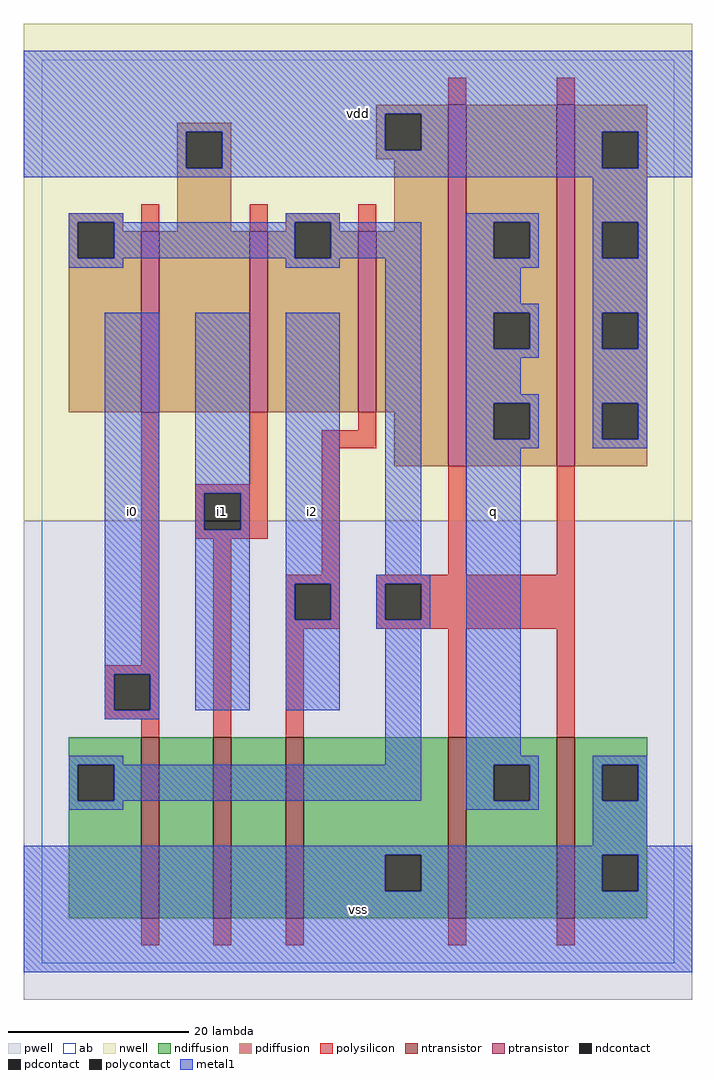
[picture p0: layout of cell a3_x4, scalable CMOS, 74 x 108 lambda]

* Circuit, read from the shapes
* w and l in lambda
.subckt a3_x4 i0 i1 i2 q vdd vss
M1 n1 i0 n2 VSUBS nfet w=20 l=2
M2 n3 i1 n1 VSUBS nfet w=20 l=2
M3 vss i2 n3 VSUBS nfet w=20 l=2
M4 q n2 vss VSUBS nfet w=20 l=2 m=2
M5 vdd i0 n2 n4 pfet w=20 l=2
M6 n2 i1 vdd n4 pfet w=20 l=2
M7 vdd i2 n2 n4 pfet w=20 l=2
M8 q n2 vdd n4 pfet w=40 l=2 m=2
.ends

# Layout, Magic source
magic
tech scmos
<< ab >>
rect 0 0 70 100
<< pwell >>
rect -2 -4 72 49
<< nwell >>
rect -2 49 72 104
<< polysilicon >>
rect 45 95 47 98
rect 57 95 59 98
rect 11 81 13 84
rect 23 81 25 84
rect 35 81 37 84
rect 11 33 13 61
rect 23 53 25 61
rect 35 59 37 61
rect 17 52 25 53
rect 17 48 18 52
rect 22 48 25 52
rect 17 47 25 48
rect 31 57 37 59
rect 7 32 13 33
rect 7 28 8 32
rect 12 28 13 32
rect 7 27 13 28
rect 11 25 13 27
rect 19 25 21 47
rect 31 43 33 57
rect 45 43 47 55
rect 57 43 59 55
rect 27 42 33 43
rect 27 38 28 42
rect 32 38 33 42
rect 27 37 33 38
rect 37 42 59 43
rect 37 38 38 42
rect 42 38 59 42
rect 37 37 59 38
rect 27 25 29 37
rect 45 25 47 37
rect 57 25 59 37
rect 11 2 13 5
rect 19 2 21 5
rect 27 2 29 5
rect 45 2 47 5
rect 57 2 59 5
<< ndiffusion >>
rect 3 22 11 25
rect 3 18 4 22
rect 8 18 11 22
rect 3 5 11 18
rect 13 5 19 25
rect 21 5 27 25
rect 29 12 45 25
rect 29 8 38 12
rect 42 8 45 12
rect 29 5 45 8
rect 47 22 57 25
rect 47 18 50 22
rect 54 18 57 22
rect 47 5 57 18
rect 59 22 67 25
rect 59 18 62 22
rect 66 18 67 22
rect 59 12 67 18
rect 59 8 62 12
rect 66 8 67 12
rect 59 5 67 8
<< pdiffusion >>
rect 37 94 45 95
rect 15 92 21 93
rect 15 88 16 92
rect 20 88 21 92
rect 37 90 38 94
rect 42 90 45 94
rect 37 89 45 90
rect 3 82 9 83
rect 3 78 4 82
rect 8 81 9 82
rect 15 81 21 88
rect 27 82 33 83
rect 27 81 28 82
rect 8 78 11 81
rect 3 61 11 78
rect 13 61 23 81
rect 25 78 28 81
rect 32 81 33 82
rect 39 81 45 89
rect 32 78 35 81
rect 25 61 35 78
rect 37 61 45 81
rect 39 55 45 61
rect 47 82 57 95
rect 47 78 50 82
rect 54 78 57 82
rect 47 72 57 78
rect 47 68 50 72
rect 54 68 57 72
rect 47 62 57 68
rect 47 58 50 62
rect 54 58 57 62
rect 47 55 57 58
rect 59 92 67 95
rect 59 88 62 92
rect 66 88 67 92
rect 59 82 67 88
rect 59 78 62 82
rect 66 78 67 82
rect 59 72 67 78
rect 59 68 62 72
rect 66 68 67 72
rect 59 62 67 68
rect 59 58 62 62
rect 66 58 67 62
rect 59 55 67 58
<< metal1 >>
rect -2 94 72 101
rect -2 92 38 94
rect -2 88 16 92
rect 20 90 38 92
rect 42 92 72 94
rect 42 90 62 92
rect 20 88 62 90
rect 66 88 72 92
rect -2 87 72 88
rect 3 82 9 83
rect 27 82 33 83
rect 47 82 55 83
rect 3 78 4 82
rect 8 78 28 82
rect 32 78 42 82
rect 3 77 9 78
rect 27 77 33 78
rect 7 32 13 72
rect 7 28 8 32
rect 12 28 13 32
rect 17 52 23 72
rect 17 48 18 52
rect 22 48 23 52
rect 17 28 23 48
rect 27 42 33 72
rect 38 43 42 78
rect 47 78 50 82
rect 54 78 55 82
rect 47 77 55 78
rect 61 82 67 87
rect 61 78 62 82
rect 66 78 67 82
rect 47 73 53 77
rect 47 72 55 73
rect 47 68 50 72
rect 54 68 55 72
rect 47 67 55 68
rect 61 72 67 78
rect 61 68 62 72
rect 66 68 67 72
rect 47 63 53 67
rect 47 62 55 63
rect 47 58 50 62
rect 54 58 55 62
rect 47 57 55 58
rect 61 62 67 68
rect 61 58 62 62
rect 66 58 67 62
rect 61 57 67 58
rect 27 38 28 42
rect 32 38 33 42
rect 27 28 33 38
rect 37 42 43 43
rect 37 38 38 42
rect 42 38 43 42
rect 37 37 43 38
rect 7 27 13 28
rect 3 22 9 23
rect 38 22 42 37
rect 3 18 4 22
rect 8 18 42 22
rect 47 23 53 57
rect 47 22 55 23
rect 47 18 50 22
rect 54 18 55 22
rect 3 17 9 18
rect 47 17 55 18
rect 61 22 67 23
rect 61 18 62 22
rect 66 18 67 22
rect 61 13 67 18
rect -2 12 72 13
rect -2 8 38 12
rect 42 8 62 12
rect 66 8 72 12
rect -2 -1 72 8
<< ntransistor >>
rect 11 5 13 25
rect 19 5 21 25
rect 27 5 29 25
rect 45 5 47 25
rect 57 5 59 25
<< ptransistor >>
rect 11 61 13 81
rect 23 61 25 81
rect 35 61 37 81
rect 45 55 47 95
rect 57 55 59 95
<< polycontact >>
rect 18 48 22 52
rect 8 28 12 32
rect 28 38 32 42
rect 38 38 42 42
<< ndcontact >>
rect 4 18 8 22
rect 38 8 42 12
rect 50 18 54 22
rect 62 18 66 22
rect 62 8 66 12
<< pdcontact >>
rect 16 88 20 92
rect 38 90 42 94
rect 4 78 8 82
rect 28 78 32 82
rect 50 78 54 82
rect 50 68 54 72
rect 50 58 54 62
rect 62 88 66 92
rect 62 78 66 82
rect 62 68 66 72
rect 62 58 66 62
<< labels >>
rlabel metal1 10 50 10 50 6 i0
rlabel metal1 10 50 10 50 6 i0
rlabel metal1 30 50 30 50 6 i2
rlabel polycontact 20 50 20 50 6 i1
rlabel polycontact 20 50 20 50 6 i1
rlabel metal1 30 50 30 50 6 i2
rlabel metal1 35 6 35 6 6 vss
rlabel metal1 35 6 35 6 6 vss
rlabel metal1 50 50 50 50 6 q
rlabel metal1 50 50 50 50 6 q
rlabel metal1 35 94 35 94 6 vdd
rlabel metal1 35 94 35 94 6 vdd
<< end >>
